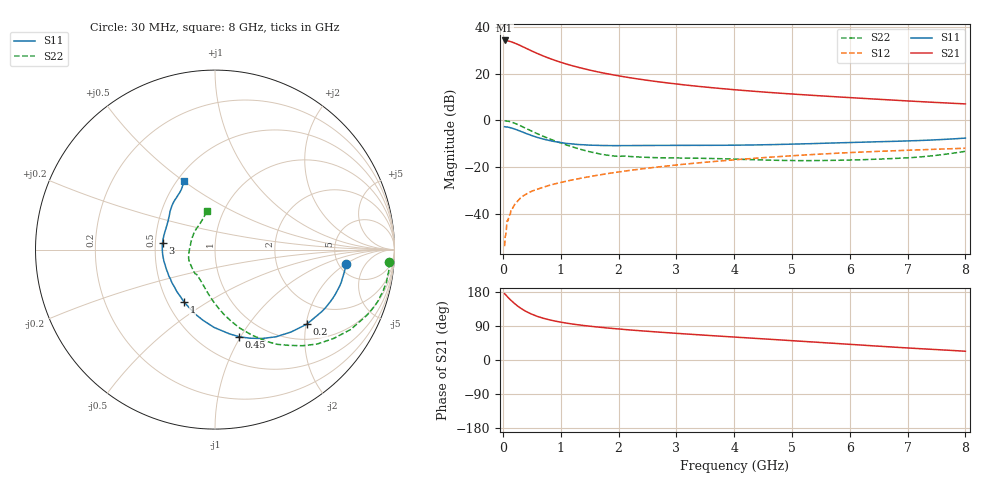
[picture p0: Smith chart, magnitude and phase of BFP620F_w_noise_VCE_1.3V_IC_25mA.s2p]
! Infineon Technologies  Discrete & RF Semiconductors
! BFP620F
! VCE =  1.3 V,  IC =  25 mA
! Common Emitter S-Parameters:  Dec 2014
# GHz  S  MA  R  50
!  f  S11  S21  S12  S22
! GHz  MAG  ANG  MAG  ANG  MAG  ANG  MAG  ANG
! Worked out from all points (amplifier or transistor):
!   95 points, 30 MHz to 8 GHz, reference 50 ohm
!   highest |S21| = 34.1 dB at 30 MHz (marker M1)
!   |S21| within 3 dB of that: start of sweep to 372.7 MHz
!   unconditionally stable (mu >= 1): 2.716 GHz to end of sweep
!   at 300 MHz: K = 0.33, MSG = 32.5 dB, |S12| = -33.2 dB
!   at 3.3 GHz: K = 1.02, MAG = 15.7 dB, |S12| = -18.3 dB
!   at 8 GHz: K = 1.06, MAG = 8.0 dB, |S12| = -11.9 dB
!   lowest NFmin = 1.00 dB at 450 MHz
!   S11 on the Smith chart (normalised r, x): 30 MHz: 5.81, -2.08; 200 MHz: 1.37, -2.02; 450 MHz: 0.76, -0.99; 1 GHz: 0.61, -0.40; 3 GHz: 0.55, +0.04; 8 GHz: 0.54, +0.50
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0.03  0.7362 -6.4  50.58 175.0  0.0021 95.7  0.9733 -4.0
0.07  0.7267 -14.5  50.1 168.4  0.007 88.7  0.9731 -10.7
0.12  0.7045 -24.5  48.29 160.4  0.0099 81.4  0.9456 -18.9
0.15  0.6882 -30.1  47.13 156.1  0.0123 77.6  0.922 -23.4
0.2  0.6591 -39.1  44.64 149.3  0.0159 75.0  0.8772 -30.5
0.25  0.6248 -47.3  42.11 143.0  0.0189 70.7  0.8261 -36.8
0.3  0.593 -55.0  39.52 137.5  0.022 68.4  0.7757 -42.7
0.4  0.5292 -68.8  34.55 128.2  0.0268 64.9  0.6754 -52.2
0.45  0.5037 -74.5  32.27 124.4  0.0291 63.5  0.6334 -56.5
0.5  0.4766 -80.2  30.19 120.9  0.0311 63.0  0.5919 -60.2
0.6  0.4343 -90.5  26.57 114.9  0.0344 61.2  0.5187 -66.7
0.7  0.4009 -99.2  23.6 110.1  0.0379 60.8  0.4592 -72.4
0.8  0.3753 -107.2  21.12 106.2  0.0413 60.4  0.4089 -77.3
1  0.3386 -120.8  17.36 99.9  0.0477 60.4  0.3313 -86.0
1.4  0.3033 -142.0  12.66 91.0  0.0605 60.2  0.2324 -102.1
2  0.291 -164.1  8.934 81.9  0.0799 59.4  0.1718 -126.4
2.7  0.2938 179.1  6.641 73.6  0.1027 56.6  0.1606 -145.9
3  0.2946 173.1  5.989 70.4  0.1125 55.4  0.1592 -151.9
4.1  0.2982 155.8  4.418 59.6  0.1481 49.4  0.1489 -168.9
5.4  0.3227 141.5  3.401 47.2  0.1894 40.9  0.14 164.2
6.7  0.3574 128.0  2.734 34.6  0.2245 31.3  0.1538 134.5
8  0.4208 114.4  2.251 23.1  0.2555 22.1  0.2199 101.8
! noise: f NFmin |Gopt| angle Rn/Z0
0.45  1  0.01  10  0.2
0.9  1.04  0.01  11  0.16
1.5  1.06  0.02  -150  0.16
1.8  1.07  0.03  -150  0.16
1.9  1.07  0.04  -150  0.15
2.4  1.1  0.06  -147  0.16
3.5  1.17  0.1  -145  0.16
5.5  1.32  0.18  236  0.12
6  1.36  0.18  258  0.15
